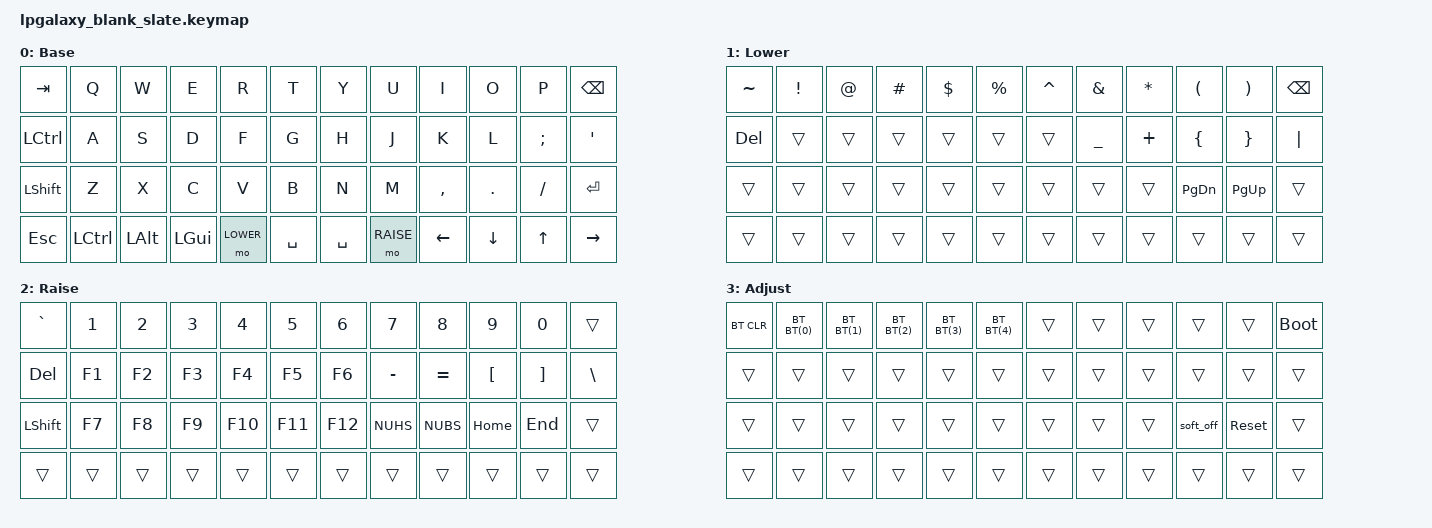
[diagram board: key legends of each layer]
/*
 * Copyright (c) 2022 Pete Johanson
 *
 * SPDX-License-Identifier: MIT
 */

#include <behaviors.dtsi>
#include <dt-bindings/zmk/keys.h>
#include <dt-bindings/zmk/bt.h>
#include <dt-bindings/zmk/outputs.h>

#define QWERTY_BASE 1

#define TBLE_ORTHO   1
// #define TBLE_MIT     1
// #define TBLE_DUAL_2U 1

#define LOWER 1
#define RAISE 2
#define ADJUST 3

// Using layer taps on thumbs, having quick tap as well helps w/ repeating space/backspace
&lt { quick_tap_ms = <200>; };

#define BT(n) BT_SEL n

/ {
    chosen {
       zmk,physical-layout =
#ifdef TBLE_DUAL_2U
                       &layout_ortho_4x12_2x2u;
#elif defined(TBLE_MIT)
                       &layout_ortho_4x12_1x2u;
#else
                       &layout_ortho_4x12_all1u;
#endif
    };

    macros {
      ZMK_MACRO(thumbs_up,
		      wait-ms = <1>;
		      tap-ms = <5>;
          bindings = <&kp PLUS &kp COLON &kp PLUS &kp N1 &kp COLON &kp RET>;
		  )
    };
    
    tap_dances {
    	shifty: shift_caps_word {
		    compatible = "zmk,behavior-tap-dance";
		    label = "TD_SHIFTY";
		    #binding-cells = <0>;
		    tapping-term-ms = <150>;
		    bindings = <&kp LSHFT>, <&caps_word>;
	    };
    };


// Conditional layer only when we have less thumb keys
    cond_layers {
        compatible = "zmk,conditional-layers";
	      tri {
	        if-layers = <RAISE LOWER>;
	        then-layer = <ADJUST>;
        };
    };

    keymap {
        compatible = "zmk,keymap";

        base_layer {
            label = "Base";
            bindings = <
 &kp TAB    &kp Q      &kp W     &kp E      &kp R      &kp T      &kp Y      &kp U      &kp I      &kp O     &kp P     &kp BKSP
 &kp LCTRL  &kp A      &kp S     &kp D      &kp F      &kp G      &kp H      &kp J      &kp K      &kp L     &kp SEMI  &kp QUOT
 &kp LSHFT  &kp Z      &kp X     &kp C      &kp V      &kp B      &kp N      &kp M      &kp COMMA  &kp DOT   &kp FSLH  &kp RET
 &kp ESC    &kp LCTRL  &kp LALT  &kp LGUI   &mo LOWER  &kp SPACE  &kp SPACE  &mo RAISE  &kp LEFT   &kp DOWN  &kp UP    &kp RIGHT
            >;
        };

        nav_layer {
            label = "Lower";
            bindings = <
&kp TILDE  &kp EXCL  &kp AT  &kp HASH  &kp DLLR   &kp PRCNT  &kp CARET  &kp AMPS   &kp STAR   &kp LPAR   &kp RPAR   &kp BKSP
&kp DEL    &trans    &trans  &trans    &trans     &trans     &trans     &kp UNDER  &kp PLUS   &kp LBRC   &kp RBRC   &kp PIPE 
&trans     &trans    &trans  &trans    &trans     &trans     &trans     &trans     &trans     &kp PG_DN  &kp PG_UP  &trans
&trans     &trans    &trans  &trans    &trans     &trans     &trans     &trans     &trans     &trans     &trans     &trans
            >;
        };

        num_layer {
            label = "Raise";
            bindings = <
&kp GRAVE  &kp N1   &kp N2   &kp N3   &kp N4   &kp N5   &kp N6   &kp N7     &kp N8    &kp N9    &kp N0    &trans
&kp DEL    &kp F1   &kp F2   &kp F3   &kp F4   &kp F5   &kp F6   &kp MINUS  &kp EQUAL &kp LBKT  &kp RBKT  &kp BSLH 
&kp LSHFT  &kp F7   &kp F8   &kp F9   &kp F10  &kp F11  &kp F12  &kp NUHS   &kp NUBS  &kp HOME  &kp END   &trans
&trans     &trans   &trans   &trans   &trans   &trans   &trans   &trans     &trans    &trans    &trans    &trans
            >;
        };

        sym_layer {
            label = "Adjust";
            bindings = <
&bt BT_CLR  &bt BT(0)  &bt BT(1)  &bt BT(2)  &bt BT(3)  &bt BT(4)  &trans  &trans  &trans  &trans     &trans      &bootloader
&trans      &trans     &trans     &trans     &trans     &trans     &trans  &trans  &trans  &trans     &trans      &trans
&trans      &trans     &trans     &trans     &trans     &trans     &trans  &trans  &trans  &soft_off  &sys_reset  &trans
&trans      &trans     &trans     &trans     &trans     &trans     &trans  &trans  &trans  &trans     &trans      &trans
            >;
        };


    };
};

